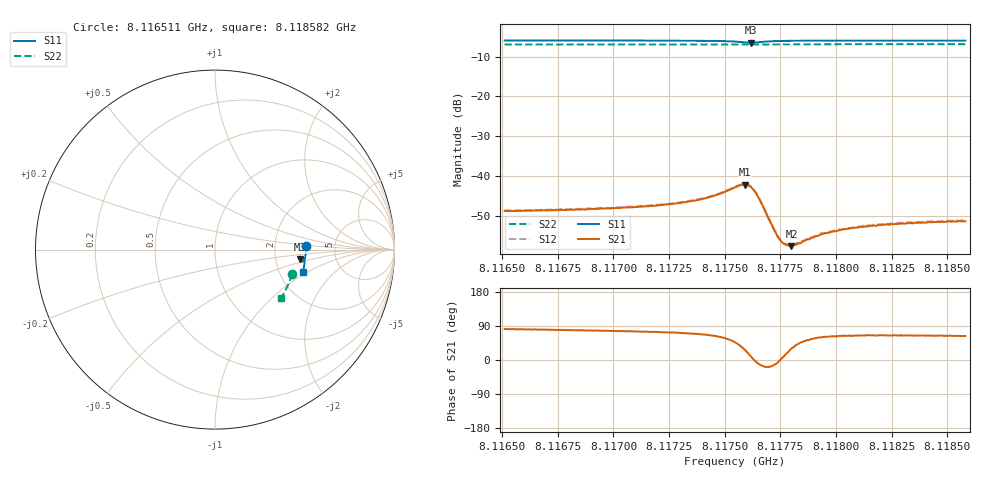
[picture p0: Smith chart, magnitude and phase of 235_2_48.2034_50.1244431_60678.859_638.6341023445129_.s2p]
#  HZ  S  RI  R  50.00
! Rohde & Schwarz Vector Network Analyzer
! Rohde-Schwarz,ZNB20-2Port,1311601062101988,3.16
! Created: UTC 3/20/2024, 11:46:37 AM
! freq[Hz]  re:S11  im:S11  re:S21  im:S21  re:S12  im:S12  re:S22  im:S22
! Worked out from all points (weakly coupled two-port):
!   401 points, 8.116511 GHz to 8.118582 GHz, reference 50 ohm
!   highest |S21| = -42.18 dB at 8.117593 GHz (marker M1); lowest = -57.7 dB at 8.1178 GHz (marker M2)
!   lowest |S11| = -6.5 dB at 8.117619 GHz (marker M3), VSWR 2.82, Z = 138 - j19.5 ohm
!   |S11| at or under -10 dB: nowhere
!   |S22| runs from -6.9 to -6.8 dB; largest |S21 - S12| = 0.00021
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8.1165107e9  0.5065 0.0203  0.000521 0.0036  0.000599 0.00366  0.4285 -0.1365
8.1168575e9  0.5063 -0.00647  0.000754 0.00371  0.000848 0.00374  0.4214 -0.1595
8.1172044e9  0.5042 -0.0341  0.0012 0.00408  0.00128 0.00415  0.4131 -0.1822
8.1172976e9  0.5029 -0.0421  0.00145 0.00434  0.00149 0.0044  0.4107 -0.1884
8.1174064e9  0.5 -0.0526  0.00199 0.00479  0.00209 0.00487  0.4077 -0.1954
8.1174788e9  0.4959 -0.0606  0.0029 0.00523  0.00302 0.00528  0.4054 -0.2001
8.1175461e9  0.4863 -0.067  0.00491 0.00524  0.00506 0.00529  0.403 -0.2043
8.1175927e9  0.4749 -0.0633  0.00703 0.00334  0.0072 0.00335  0.4012 -0.2069
8.1176186e9  0.4727 -0.0547  0.00714 0.00108  0.00727 0.00101  0.4004 -0.208
8.1176342e9  0.475 -0.05  0.00642 -0.000118  0.00655 -0.000203  0.4003 -0.2088
8.1176497e9  0.479 -0.047  0.0054 -0.000866  0.00549 -0.000919  0.4 -0.2096
8.117717e9  0.4936 -0.051  0.00216 -0.00056  0.0022 -0.000609  0.3986 -0.214
8.1177429e9  0.496 -0.0546  0.00164 -0.00011  0.00169 -0.000129  0.3981 -0.2157
8.1177688e9  0.4974 -0.0582  0.00137 0.000267  0.00136 0.00026  0.3972 -0.2175
8.1177791e9  0.4978 -0.0595  0.00128 0.000408  0.0013 0.000429  0.3971 -0.2182
8.1177998e9  0.4982 -0.062  0.00112 0.000669  0.00123 0.000647  0.3963 -0.2194
8.117893e9  0.4988 -0.0719  0.00093 0.00137  0.000965 0.00137  0.3934 -0.2254
8.1179448e9  0.4985 -0.0769  0.000914 0.00164  0.000968 0.00162  0.3918 -0.2287
8.1180069e9  0.4978 -0.0824  0.000906 0.00182  0.001 0.00185  0.3896 -0.2325
8.1181157e9  0.4966 -0.0914  0.000969 0.00204  0.00102 0.00209  0.386 -0.2393
8.1182399e9  0.4946 -0.1012  0.00103 0.00219  0.00108 0.00226  0.3817 -0.2469
8.1185816e9  0.4886 -0.1268  0.00121 0.0024  0.00124 0.00248  0.3688 -0.2673
